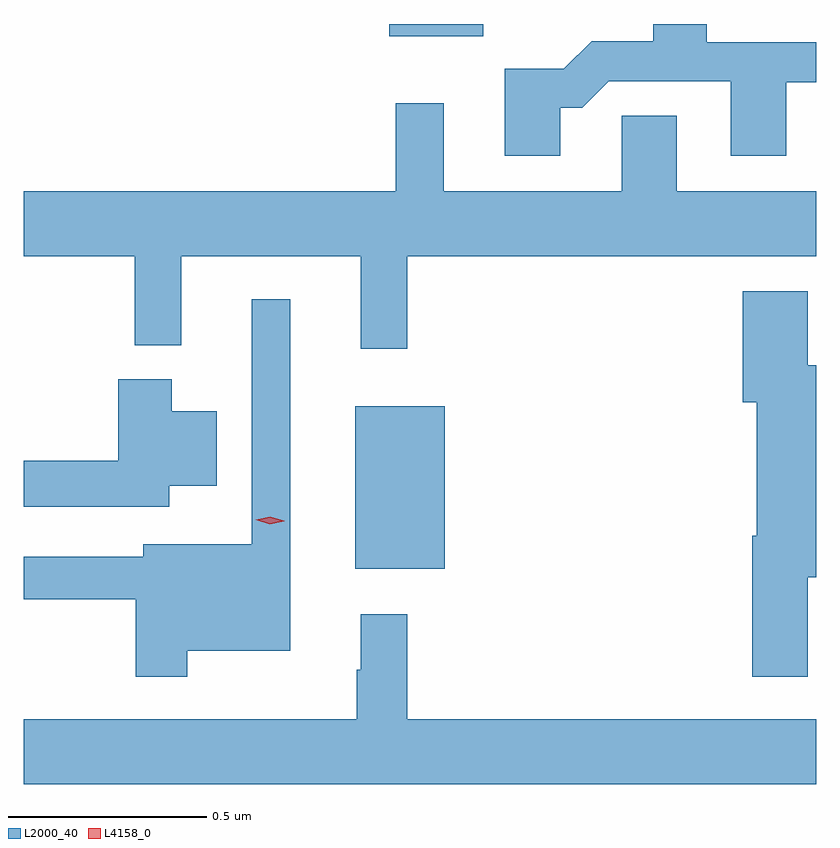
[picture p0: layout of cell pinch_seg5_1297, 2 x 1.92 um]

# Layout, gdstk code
import gdstk
lib = gdstk.Library(unit=1e-6, precision=1e-09)
def R(c, l, rs):  # rectangles x0, y0, x1, y1
    for r in rs: c.add(gdstk.rectangle(r[:2], r[2:], *l))
def P(c, l, *ps):  # polygons
    for p in ps: c.add(gdstk.Polygon(p, *l))
L2000_40 = (2000, 40)
L4158_0 = (4158, 0)

pinch_seg5_1297 = lib.new_cell('pinch_seg5_1297')
R(pinch_seg5_1297, L2000_40, [(445.883,871.955,446.11,872.365), (445.97,873.299,446.206,873.33)])
P(pinch_seg5_1297, L2000_40, [(446.401,873.119),(446.456,873.119),(446.523,873.186),(446.831,873.186),(446.831,872.997),(446.971,872.997),(446.971,873.183),(447.047,873.183),(447.047,873.284),(446.771,873.284),(446.771,873.33),(446.636,873.33),(446.636,873.287),(446.48,873.287),(446.41,873.217),(446.261,873.217),(446.261,872.997),(446.401,872.997)],
  [(446.015,872.744),(447.047,872.744),(447.047,872.908),(446.695,872.908),(446.695,873.098),(446.556,873.098),(446.556,872.908),(446.107,872.908),(446.107,873.13),(445.986,873.13),(445.986,872.908),(445.047,872.908),(445.047,872.744),(445.327,872.744),(445.327,872.519),(445.445,872.519),(445.445,872.744),(445.898,872.744),(445.898,872.511),(446.015,872.511)],
  [(447.025,871.934),(447.047,871.934),(447.047,872.469),(447.025,872.469),(447.025,872.656),(446.861,872.656),(446.861,872.376),(446.897,872.376),(446.897,872.038),(446.885,872.038),(446.885,871.683),(447.025,871.683)],
  [(445.459,871.748),(445.72,871.748),(445.72,872.635),(445.623,872.635),(445.623,872.017),(445.349,872.017),(445.349,871.986),(445.047,871.986),(445.047,871.878),(445.33,871.878),(445.33,871.683),(445.459,871.683)],
  [(445.414,872.165),(445.534,872.165),(445.534,872.353),(445.42,872.353),(445.42,872.434),(445.286,872.434),(445.286,872.228),(445.047,872.228),(445.047,872.112),(445.414,872.112)],
  [(447.047,871.576),(446.015,871.576),(446.015,871.84),(445.898,871.84),(445.898,871.7),(445.887,871.7),(445.887,871.576),(445.047,871.576),(445.047,871.412),(447.047,871.412)])
P(pinch_seg5_1297, L4158_0, [(445.668,872.067),(445.633,872.079),(445.633,872.079),(445.633,872.079),(445.669,872.087),(445.704,872.076),(445.704,872.076),(445.704,872.075)])

lib.write_gds('pinch_seg5_1297.gds')
